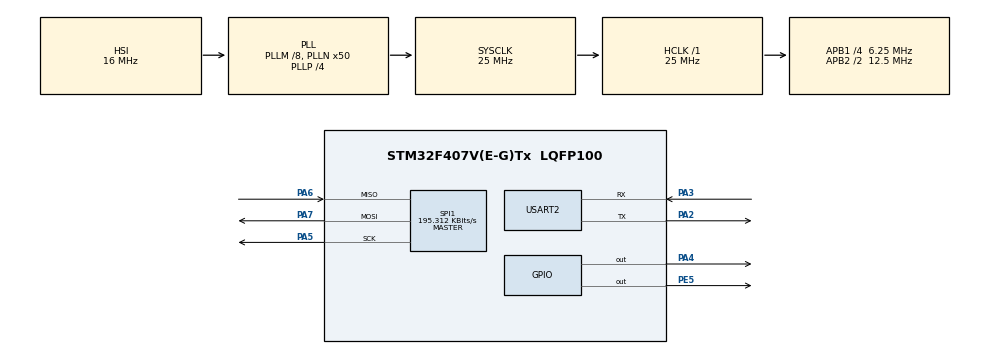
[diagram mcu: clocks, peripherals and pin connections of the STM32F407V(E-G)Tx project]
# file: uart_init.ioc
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Mcu.Family=STM32F4
Mcu.Name=STM32F407V(E-G)Tx
Mcu.Package=LQFP100
NVIC.PriorityGroup=NVIC_PRIORITYGROUP_0
PA2.Mode=Asynchronous
PA2.Signal=USART2_TX
PA3.Mode=Asynchronous
PA3.Signal=USART2_RX
PA4.Signal=GPIO_Output
PA5.Mode=Full_Duplex_Master
PA5.Signal=SPI1_SCK
PA6.Mode=Full_Duplex_Master
PA6.Signal=SPI1_MISO
PA7.Mode=Full_Duplex_Master
PA7.Signal=SPI1_MOSI
PE5.Signal=GPIO_Output
ProjectManager.HeapSize=0x200
ProjectManager.StackSize=0x400
ProjectManager.TargetToolchain=STM32CubeIDE
RCC.48MHZClocksFreq_Value=14285714.285714285
RCC.AHBFreq_Value=25000000
RCC.APB1CLKDivider=RCC_HCLK_DIV4
RCC.APB1Freq_Value=6250000
RCC.APB1TimFreq_Value=12500000
RCC.APB2CLKDivider=RCC_HCLK_DIV2
RCC.APB2Freq_Value=12500000
RCC.APB2TimFreq_Value=25000000
RCC.CortexFreq_Value=25000000
RCC.HCLKFreq_Value=25000000
RCC.HSE_VALUE=8000000
RCC.HSI_VALUE=16000000
RCC.LSE_VALUE=32768
RCC.PLLM=8
RCC.PLLN=50
RCC.PLLP=RCC_PLLP_DIV4
RCC.PLLQ=7
RCC.SYSCLKFreq_VALUE=25000000
RCC.SYSCLKSource=RCC_SYSCLKSOURCE_PLLCLK
RCC.VCOOutputFreq_Value=100000000
SPI1.BaudRatePrescaler=SPI_BAUDRATEPRESCALER_64
SPI1.CLKPhase=SPI_PHASE_2EDGE
SPI1.CLKPolarity=SPI_POLARITY_HIGH
SPI1.CalculateBaudRate=195.312 KBits/s
SPI1.Direction=SPI_DIRECTION_2LINES
SPI1.Mode=SPI_MODE_MASTER
SPI1.VirtualType=VM_MASTER
USART2.VirtualMode=VM_ASYNC
board=STM32F407G-DISC1

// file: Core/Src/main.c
/* USER CODE BEGIN Header */
/**
  ******************************************************************************
  * @file           : main.c
  * @brief          : Main program body
  ******************************************************************************
  * @attention
  *
  * Copyright (c) 2026 STMicroelectronics.
  * All rights reserved.
  *
  * This software is licensed under terms that can be found in the LICENSE file
  * in the root directory of this software component.
  * If no LICENSE file comes with this software, it is provided AS-IS.
  *
  ******************************************************************************
  */
/* USER CODE END Header */
#include "main.h"

/* USER CODE BEGIN Includes */
#include<stdio.h>
#include<string.h>
/* USER CODE END Includes */

/* USER CODE BEGIN PD */
//SPI
#define SPI_CS_ENABLE()		HAL_GPIO_WritePin(GPIOA, GPIO_PIN_4, GPIO_PIN_RESET)
#define SPI_CS_DISABLE()	HAL_GPIO_WritePin(GPIOA, GPIO_PIN_4, GPIO_PIN_SET)

#define DRV_ENABLE()	HAL_GPIO_WritePin(GPIOE, GPIO_PIN_5, GPIO_PIN_RESET)
#define DRV_DISABLE()	HAL_GPIO_WritePin(GPIOE, GPIO_PIN_5, GPIO_PIN_SET)

//#define DRV_EN()	HAL_GPIO_Write_Pin(GPIOE, GPIO_PIN_4, GPIO_PIN_SET);

/* USER CODE END PD */

SPI_HandleTypeDef hspi1;

UART_HandleTypeDef huart2;

void SystemClock_Config(void);
static void MX_GPIO_Init(void);
static void MX_USART2_UART_Init(void);
static void MX_SPI1_Init(void);

int main(void)
{

  /* MCU Configuration--------------------------------------------------------*/

  /* Reset of all peripherals, Initializes the Flash interface and the Systick. */
  HAL_Init();

  /* Configure the system clock */
  SystemClock_Config();

  /* Initialize all configured peripherals */
  MX_GPIO_Init();
  MX_USART2_UART_Init();
  MX_SPI1_Init();
  /* USER CODE BEGIN 2 */
  SPI_CS_ENABLE();
  DRV_ENABLE();

  //SPI Transmit Array
  uint8_t tx_data[] = {0x01,0x00,0x00,0x00,0x00};
  int i;
//  for(i = 0; i < 5; i++)
//  {
//	  char str[10];
//	  sprintf(str, "0x%02X ", tx_data[i]);
//	  HAL_UART_Transmit(&huart2, (uint8_t*)str, strlen(str), HAL_MAX_DELAY);
//  }
//
//  HAL_UART_Transmit(&huart2, (uint8_t *)"\r\n", 2, HAL_MAX_DELAY);
  //SPI Receive Array
  uint8_t rx_spi_data[5] = {0x00};
//  for(i = 0; i < 5; i++)
//    {
//  	  char str[10];
//  	  sprintf(str, "0x%02X ", rx_spi_data[i]);
//  	  HAL_UART_Transmit(&huart2, (uint8_t*)str, strlen(str), HAL_MAX_DELAY);
//    }
//
//    HAL_UART_Transmit(&huart2, (uint8_t *)"\r\n", 2, HAL_MAX_DELAY);

  //SPI Message Transmit
  HAL_SPI_Transmit(&hspi1, tx_data, sizeof(tx_data), 500);
  for(i = 0; i < 5; i++)
    {
  	  char str[10];
  	  sprintf(str, "0x%02X ", tx_data[i]);
  	  HAL_UART_Transmit(&huart2, (uint8_t*)str, strlen(str), HAL_MAX_DELAY);
    }

    HAL_UART_Transmit(&huart2, (uint8_t *)"\r\n", 2, HAL_MAX_DELAY);
  //SPI Message Receive
  HAL_SPI_Receive(&hspi1, rx_spi_data, 5, 500);
  for(i = 0; i < 5; i++)
      {
    	  char str[10];
    	  sprintf(str, "0x%02X ", rx_spi_data[i]);
    	  HAL_UART_Transmit(&huart2, (uint8_t*)str, strlen(str), HAL_MAX_DELAY);
      }

      HAL_UART_Transmit(&huart2, (uint8_t *)"\r\n", 2, HAL_MAX_DELAY);

  //SPI Message Transmit
  HAL_SPI_Transmit(&hspi1, tx_data, sizeof(tx_data), 500);
  for(i = 0; i < 5; i++)
    {
  	  char str[10];
  	  sprintf(str, "0x%02X ", tx_data[i]);
  	  HAL_UART_Transmit(&huart2, (uint8_t*)str, strlen(str), HAL_MAX_DELAY);
    }

    HAL_UART_Transmit(&huart2, (uint8_t *)"\r\n", 2, HAL_MAX_DELAY);

  //SPI Message Receive
  HAL_SPI_Receive(&hspi1, rx_spi_data, 5, 500);
  for(i = 0; i < 5; i++)
      {
    	  char str[10];
    	  sprintf(str, "0x%02X ", rx_spi_data[i]);
    	  HAL_UART_Transmit(&huart2, (uint8_t*)str, strlen(str), HAL_MAX_DELAY);
      }

      HAL_UART_Transmit(&huart2, (uint8_t *)"\r\n", 2, HAL_MAX_DELAY);

  //UART Data Sent
  HAL_UART_Transmit(&huart2, (uint8_t*)"SPI1 to TMC5160 Communication..\r\n", 40, HAL_MAX_DELAY);
  HAL_UART_Transmit(&huart2, (uint8_t*)"Data Sent\n\r", 13, HAL_MAX_DELAY);

  //UART SPI Message Transmit
  //HAL_UART_Transmit(&huart2, tx_data, sizeof(tx_data), HAL_MAX_DELAY);

  //UART SPI Message Receive
  //HAL_UART_Transmit(&huart2, rx_spi_data, sizeof(rx_spi_data), HAL_MAX_DELAY);

  SPI_CS_DISABLE();
  DRV_DISABLE();

  /* USER CODE END 2 */

  /* Infinite loop */
  while (1)
  {

  }
}

void SystemClock_Config(void)
{
  RCC_OscInitTypeDef RCC_OscInitStruct = {0};
  RCC_ClkInitTypeDef RCC_ClkInitStruct = {0};

  /** Configure the main internal regulator output voltage
  */
  __HAL_RCC_PWR_CLK_ENABLE();
  __HAL_PWR_VOLTAGESCALING_CONFIG(PWR_REGULATOR_VOLTAGE_SCALE1);

  /** Initializes the RCC Oscillators according to the specified parameters
  * in the RCC_OscInitTypeDef structure.
  */
  RCC_OscInitStruct.OscillatorType = RCC_OSCILLATORTYPE_HSI;
  RCC_OscInitStruct.HSIState = RCC_HSI_ON;
  RCC_OscInitStruct.HSICalibrationValue = RCC_HSICALIBRATION_DEFAULT;
  RCC_OscInitStruct.PLL.PLLState = RCC_PLL_ON;
  RCC_OscInitStruct.PLL.PLLSource = RCC_PLLSOURCE_HSI;
  RCC_OscInitStruct.PLL.PLLM = 8;
  RCC_OscInitStruct.PLL.PLLN = 50;
  RCC_OscInitStruct.PLL.PLLP = RCC_PLLP_DIV4;
  RCC_OscInitStruct.PLL.PLLQ = 7;
  if (HAL_RCC_OscConfig(&RCC_OscInitStruct) != HAL_OK)
  {
    Error_Handler();
  }

  /** Initializes the CPU, AHB and APB buses clocks
  */
  RCC_ClkInitStruct.ClockType = RCC_CLOCKTYPE_HCLK|RCC_CLOCKTYPE_SYSCLK
                              |RCC_CLOCKTYPE_PCLK1|RCC_CLOCKTYPE_PCLK2;
  RCC_ClkInitStruct.SYSCLKSource = RCC_SYSCLKSOURCE_PLLCLK;
  RCC_ClkInitStruct.AHBCLKDivider = RCC_SYSCLK_DIV1;
  RCC_ClkInitStruct.APB1CLKDivider = RCC_HCLK_DIV4;
  RCC_ClkInitStruct.APB2CLKDivider = RCC_HCLK_DIV2;

  if (HAL_RCC_ClockConfig(&RCC_ClkInitStruct, FLASH_LATENCY_0) != HAL_OK)
  {
    Error_Handler();
  }
}

static void MX_SPI1_Init(void)
{

  /* SPI1 parameter configuration*/
  hspi1.Instance = SPI1;
  hspi1.Init.Mode = SPI_MODE_MASTER;
  hspi1.Init.Direction = SPI_DIRECTION_2LINES;
  hspi1.Init.DataSize = SPI_DATASIZE_8BIT;
  hspi1.Init.CLKPolarity = SPI_POLARITY_HIGH;
  hspi1.Init.CLKPhase = SPI_PHASE_2EDGE;
  hspi1.Init.NSS = SPI_NSS_SOFT;
  hspi1.Init.BaudRatePrescaler = SPI_BAUDRATEPRESCALER_16;
  hspi1.Init.FirstBit = SPI_FIRSTBIT_MSB;
  hspi1.Init.TIMode = SPI_TIMODE_DISABLE;
  hspi1.Init.CRCCalculation = SPI_CRCCALCULATION_DISABLE;
  hspi1.Init.CRCPolynomial = 10;
  if (HAL_SPI_Init(&hspi1) != HAL_OK)
  {
    Error_Handler();
  }

}

static void MX_USART2_UART_Init(void)
{

  huart2.Instance = USART2;
  huart2.Init.BaudRate = 115200;
  huart2.Init.WordLength = UART_WORDLENGTH_8B;
  huart2.Init.StopBits = UART_STOPBITS_1;
  huart2.Init.Parity = UART_PARITY_NONE;
  huart2.Init.Mode = UART_MODE_TX_RX;
  huart2.Init.HwFlowCtl = UART_HWCONTROL_NONE;
  huart2.Init.OverSampling = UART_OVERSAMPLING_16;
  if (HAL_UART_Init(&huart2) != HAL_OK)
  {
    Error_Handler();
  }

}

static void MX_GPIO_Init(void)
{
  GPIO_InitTypeDef GPIO_InitStruct = {0};

  /* GPIO Ports Clock Enable */
  __HAL_RCC_GPIOE_CLK_ENABLE();
  __HAL_RCC_GPIOA_CLK_ENABLE();

  /*Configure GPIO pin Output Level */
  HAL_GPIO_WritePin(GPIOE, GPIO_PIN_5, GPIO_PIN_RESET);

  /*Configure GPIO pin Output Level */
  HAL_GPIO_WritePin(GPIOA, GPIO_PIN_4, GPIO_PIN_RESET);

  /*Configure GPIO pin : PE5 */
  GPIO_InitStruct.Pin = GPIO_PIN_5;
  GPIO_InitStruct.Mode = GPIO_MODE_OUTPUT_PP;
  GPIO_InitStruct.Pull = GPIO_NOPULL;
  GPIO_InitStruct.Speed = GPIO_SPEED_FREQ_LOW;
  HAL_GPIO_Init(GPIOE, &GPIO_InitStruct);

  /*Configure GPIO pin : PA4 */
  GPIO_InitStruct.Pin = GPIO_PIN_4;
  GPIO_InitStruct.Mode = GPIO_MODE_OUTPUT_PP;
  GPIO_InitStruct.Pull = GPIO_NOPULL;
  GPIO_InitStruct.Speed = GPIO_SPEED_FREQ_LOW;
  HAL_GPIO_Init(GPIOA, &GPIO_InitStruct);

}

void Error_Handler(void)
{
  __disable_irq();
  while (1)
  {
  }
}
